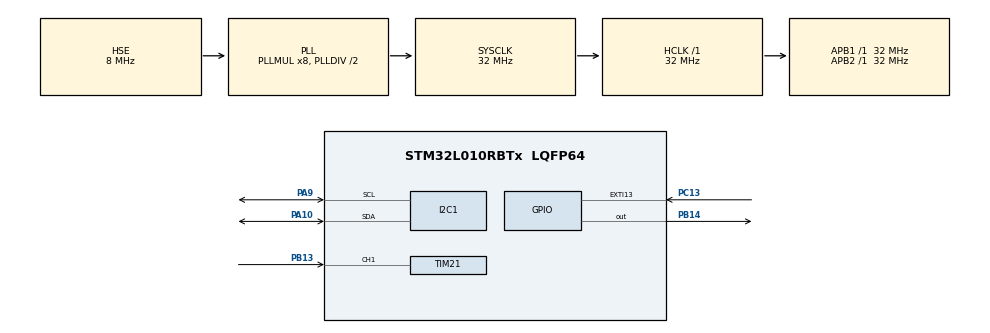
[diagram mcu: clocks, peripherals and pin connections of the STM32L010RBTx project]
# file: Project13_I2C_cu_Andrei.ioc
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I2C1.OwnAddress=0
I2C1.Timing=0x00707CBB
Mcu.Family=STM32L0
Mcu.Name=STM32L010RBTx
Mcu.Package=LQFP64
NVIC.EXTI4_15_IRQn=true\:0\:0\:false\:false\:true\:true\:true
NVIC.I2C1_IRQn=true\:0\:0\:false\:false\:true\:true\:true
NVIC.TIM21_IRQn=true\:0\:0\:false\:false\:true\:true\:true
PA10.Mode=I2C
PA10.Signal=I2C1_SDA
PA9.Mode=I2C
PA9.Signal=I2C1_SCL
PB13.Signal=S_TIM21_CH1
PB14.Signal=GPIO_Output
PC13.Signal=GPXTI13
ProjectManager.HeapSize=0x200
ProjectManager.StackSize=0x400
ProjectManager.TargetToolchain=EWARM V8.32
RCC.AHBFreq_Value=32000000
RCC.APB1Freq_Value=32000000
RCC.APB1TimFreq_Value=32000000
RCC.APB2Freq_Value=32000000
RCC.APB2TimFreq_Value=32000000
RCC.HCLKFreq_Value=32000000
RCC.HSE_VALUE=8000000
RCC.HSI16_VALUE=16000000
RCC.HSI48_VALUE=48000000
RCC.HSI_VALUE=16000000
RCC.LSE_VALUE=32768
RCC.MSI_VALUE=2097000
RCC.PLLMUL=RCC_PLLMUL_8
RCC.PLLSourceVirtual=RCC_PLLSOURCE_HSE
RCC.SYSCLKFreq_VALUE=32000000
RCC.SYSCLKSource=RCC_SYSCLKSOURCE_PLLCLK
RCC.VCOOutputFreq_Value=64000000
SH.S_TIM21_CH1.0=TIM21_CH1,Input_Capture1_from_TI1
TIM21.Channel-Input_Capture1_from_TI1=TIM_CHANNEL_1
TIM21.Period=0xffff-1
TIM21.Prescaler=32-1
board=NUCLEO-L010RB

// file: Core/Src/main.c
/* USER CODE BEGIN Header */
/**
  ******************************************************************************
  * @file           : main.c
  * @brief          : Main program body
  ******************************************************************************
  * @attention
  *
  * <h2><center>&copy; Copyright (c) 2021 STMicroelectronics.
  * All rights reserved.</center></h2>
  *
  * This software component is licensed by ST under BSD 3-Clause license,
  * the "License"; You may not use this file except in compliance with the
  * License. You may obtain a copy of the License at:
  *                        opensource.org/licenses/BSD-3-Clause
  *
  ******************************************************************************
  */
/* USER CODE END Header */
#include "main.h"

/* USER CODE BEGIN Includes */
#include "string.h"
#include "stdio.h"
/* USER CODE END Includes */

I2C_HandleTypeDef hi2c1;

TIM_HandleTypeDef htim21;

/* USER CODE BEGIN PV */
uint8_t rxI2C;
uint8_t txI2C[8];
uint8_t contor=0;
uint8_t txcI2C[8];

/* USER CODE END PV */

void SystemClock_Config(void);
static void MX_GPIO_Init(void);
static void MX_I2C1_Init(void);
static void MX_TIM21_Init(void);

/* USER CODE BEGIN 0 */
void delay(uint16_t time){

  __HAL_TIM_SET_COUNTER(&htim21, 0);
  while(__HAL_TIM_GET_COUNTER (&htim21) < time );

}
uint32_t IC_Val1 = 0;
uint32_t IC_Val2 = 0;
uint32_t Difference = 0;
uint8_t Is_First_Captured = 0;  // is the first value captured ?
uint8_t Distance=1;

#define TRIG_PIN GPIO_PIN_14
#define TRIG_PORT GPIOB

// Let's write the callback function

void HAL_TIM_IC_CaptureCallback(TIM_HandleTypeDef *htim)
{
	if (htim->Channel == HAL_TIM_ACTIVE_CHANNEL_1)  // if the interrupt source is channel1
	{
		if (Is_First_Captured==0) // if the first value is not captured
		{
			IC_Val1 = HAL_TIM_ReadCapturedValue(htim, TIM_CHANNEL_1); // read the first value
			Is_First_Captured = 1;  // set the first captured as true
			// Now change the polarity to falling edge
			__HAL_TIM_SET_CAPTUREPOLARITY(htim, TIM_CHANNEL_1, TIM_INPUTCHANNELPOLARITY_FALLING);
		}

		else if (Is_First_Captured==1)   // if the first is already captured
		{
			IC_Val2 = HAL_TIM_ReadCapturedValue(htim, TIM_CHANNEL_1);  // read second value
			__HAL_TIM_SET_COUNTER(htim, 0);  // reset the counter

			if (IC_Val2 > IC_Val1)
			{
				Difference = IC_Val2-IC_Val1;
			}

			else if (IC_Val1 > IC_Val2)
			{
				Difference = (0xffff - IC_Val1) + IC_Val2;
			}

			Distance = Difference * .034/2;
			Is_First_Captured = 0; // set it back to false

			// set polarity to rising edge
			__HAL_TIM_SET_CAPTUREPOLARITY(htim, TIM_CHANNEL_1, TIM_INPUTCHANNELPOLARITY_RISING);
			__HAL_TIM_DISABLE_IT(&htim21, TIM_IT_CC1);
		}
	}
}

void HCSR04_Read (void)
{
	HAL_GPIO_WritePin(TRIG_PORT, TRIG_PIN, GPIO_PIN_SET);  // pull the TRIG pin HIGH
	delay(10);  // wait for 10 us
	HAL_GPIO_WritePin(TRIG_PORT, TRIG_PIN, GPIO_PIN_RESET);  // pull the TRIG pin low

	__HAL_TIM_ENABLE_IT(&htim21, TIM_IT_CC1);
}
/* USER CODE END 0 */

int main(void)
{

  /* MCU Configuration--------------------------------------------------------*/

  /* Reset of all peripherals, Initializes the Flash interface and the Systick. */
  HAL_Init();

  /* Configure the system clock */
  SystemClock_Config();

  /* Initialize all configured peripherals */
  MX_GPIO_Init();
  MX_I2C1_Init();
  MX_TIM21_Init();
  /* USER CODE BEGIN 2 */
HAL_TIM_IC_Start(&htim21, TIM_CHANNEL_1);
  /* USER CODE END 2 */

  /* Infinite loop */
  /* USER CODE BEGIN WHILE */
  while (1)
  {
    HCSR04_Read();
    HAL_Delay(250);

    HAL_I2C_Master_Transmit(&hi2c1 , 0, &Distance, 1, HAL_MAX_DELAY);
    HAL_Delay(250);
    HAL_I2C_Slave_Receive(&hi2c1, &rxI2C, 1, HAL_MAX_DELAY);

    if(Distance < 5 && rxI2C==1){
     sprintf(txcI2C, "EsteOK1");

    }else if(Distance >= 5 && Distance <10 && rxI2C==2){
     sprintf(txcI2C, "EsteOK2");

    }else if(Distance >=10 && rxI2C==3){
      sprintf(txcI2C, "EsteOK3");

    }else {
      sprintf(txcI2C, "Nu E OK3");
    }
    HAL_Delay(250);
    HAL_I2C_Master_Transmit(&hi2c1 , 0, txcI2C, 8, 100);
HAL_Delay(250);

    /* USER CODE END WHILE */

  }

}
void SystemClock_Config(void)
{
  RCC_OscInitTypeDef RCC_OscInitStruct = {0};
  RCC_ClkInitTypeDef RCC_ClkInitStruct = {0};
  RCC_PeriphCLKInitTypeDef PeriphClkInit = {0};

  /** Configure the main internal regulator output voltage
  */
  __HAL_PWR_VOLTAGESCALING_CONFIG(PWR_REGULATOR_VOLTAGE_SCALE1);
  /** Initializes the RCC Oscillators according to the specified parameters
  * in the RCC_OscInitTypeDef structure.
  */
  RCC_OscInitStruct.OscillatorType = RCC_OSCILLATORTYPE_HSE|RCC_OSCILLATORTYPE_LSE;
  RCC_OscInitStruct.HSEState = RCC_HSE_ON;
  RCC_OscInitStruct.LSEState = RCC_LSE_ON;
  RCC_OscInitStruct.PLL.PLLState = RCC_PLL_ON;
  RCC_OscInitStruct.PLL.PLLSource = RCC_PLLSOURCE_HSE;
  RCC_OscInitStruct.PLL.PLLMUL = RCC_PLLMUL_8;
  RCC_OscInitStruct.PLL.PLLDIV = RCC_PLLDIV_2;
  if (HAL_RCC_OscConfig(&RCC_OscInitStruct) != HAL_OK)
  {
    Error_Handler();
  }
  /** Initializes the CPU, AHB and APB buses clocks
  */
  RCC_ClkInitStruct.ClockType = RCC_CLOCKTYPE_HCLK|RCC_CLOCKTYPE_SYSCLK
                              |RCC_CLOCKTYPE_PCLK1|RCC_CLOCKTYPE_PCLK2;
  RCC_ClkInitStruct.SYSCLKSource = RCC_SYSCLKSOURCE_PLLCLK;
  RCC_ClkInitStruct.AHBCLKDivider = RCC_SYSCLK_DIV1;
  RCC_ClkInitStruct.APB1CLKDivider = RCC_HCLK_DIV1;
  RCC_ClkInitStruct.APB2CLKDivider = RCC_HCLK_DIV1;

  if (HAL_RCC_ClockConfig(&RCC_ClkInitStruct, FLASH_LATENCY_1) != HAL_OK)
  {
    Error_Handler();
  }
  PeriphClkInit.PeriphClockSelection = RCC_PERIPHCLK_I2C1;
  PeriphClkInit.I2c1ClockSelection = RCC_I2C1CLKSOURCE_PCLK1;
  if (HAL_RCCEx_PeriphCLKConfig(&PeriphClkInit) != HAL_OK)
  {
    Error_Handler();
  }
  HAL_RCC_MCOConfig(RCC_MCO1, RCC_MCO1SOURCE_SYSCLK, RCC_MCODIV_1);
}

static void MX_I2C1_Init(void)
{

  hi2c1.Instance = I2C1;
  hi2c1.Init.Timing = 0x00707CBB;
  hi2c1.Init.OwnAddress1 = 0;
  hi2c1.Init.AddressingMode = I2C_ADDRESSINGMODE_7BIT;
  hi2c1.Init.DualAddressMode = I2C_DUALADDRESS_DISABLE;
  hi2c1.Init.OwnAddress2 = 0;
  hi2c1.Init.OwnAddress2Masks = I2C_OA2_NOMASK;
  hi2c1.Init.GeneralCallMode = I2C_GENERALCALL_DISABLE;
  hi2c1.Init.NoStretchMode = I2C_NOSTRETCH_DISABLE;
  if (HAL_I2C_Init(&hi2c1) != HAL_OK)
  {
    Error_Handler();
  }
  /** Configure Analogue filter
  */
  if (HAL_I2CEx_ConfigAnalogFilter(&hi2c1, I2C_ANALOGFILTER_ENABLE) != HAL_OK)
  {
    Error_Handler();
  }
  /** Configure Digital filter
  */
  if (HAL_I2CEx_ConfigDigitalFilter(&hi2c1, 0) != HAL_OK)
  {
    Error_Handler();
  }

}

static void MX_TIM21_Init(void)
{

  TIM_MasterConfigTypeDef sMasterConfig = {0};
  TIM_IC_InitTypeDef sConfigIC = {0};

  htim21.Instance = TIM21;
  htim21.Init.Prescaler = 32-1;
  htim21.Init.CounterMode = TIM_COUNTERMODE_UP;
  htim21.Init.Period = 0xffff-1;
  htim21.Init.ClockDivision = TIM_CLOCKDIVISION_DIV1;
  htim21.Init.AutoReloadPreload = TIM_AUTORELOAD_PRELOAD_DISABLE;
  if (HAL_TIM_IC_Init(&htim21) != HAL_OK)
  {
    Error_Handler();
  }
  sMasterConfig.MasterOutputTrigger = TIM_TRGO_RESET;
  sMasterConfig.MasterSlaveMode = TIM_MASTERSLAVEMODE_DISABLE;
  if (HAL_TIMEx_MasterConfigSynchronization(&htim21, &sMasterConfig) != HAL_OK)
  {
    Error_Handler();
  }
  sConfigIC.ICPolarity = TIM_INPUTCHANNELPOLARITY_RISING;
  sConfigIC.ICSelection = TIM_ICSELECTION_DIRECTTI;
  sConfigIC.ICPrescaler = TIM_ICPSC_DIV1;
  sConfigIC.ICFilter = 0;
  if (HAL_TIM_IC_ConfigChannel(&htim21, &sConfigIC, TIM_CHANNEL_1) != HAL_OK)
  {
    Error_Handler();
  }

}

static void MX_GPIO_Init(void)
{
  GPIO_InitTypeDef GPIO_InitStruct = {0};

  /* GPIO Ports Clock Enable */
  __HAL_RCC_GPIOC_CLK_ENABLE();
  __HAL_RCC_GPIOB_CLK_ENABLE();
  __HAL_RCC_GPIOA_CLK_ENABLE();

  /*Configure GPIO pin Output Level */
  HAL_GPIO_WritePin(GPIOB, GPIO_PIN_14, GPIO_PIN_RESET);

  /*Configure GPIO pin : PC13 */
  GPIO_InitStruct.Pin = GPIO_PIN_13;
  GPIO_InitStruct.Mode = GPIO_MODE_IT_RISING;
  GPIO_InitStruct.Pull = GPIO_NOPULL;
  HAL_GPIO_Init(GPIOC, &GPIO_InitStruct);

  /*Configure GPIO pin : PB14 */
  GPIO_InitStruct.Pin = GPIO_PIN_14;
  GPIO_InitStruct.Mode = GPIO_MODE_OUTPUT_PP;
  GPIO_InitStruct.Pull = GPIO_NOPULL;
  GPIO_InitStruct.Speed = GPIO_SPEED_FREQ_LOW;
  HAL_GPIO_Init(GPIOB, &GPIO_InitStruct);

  /* EXTI interrupt init*/
  HAL_NVIC_SetPriority(EXTI4_15_IRQn, 0, 0);
  HAL_NVIC_EnableIRQ(EXTI4_15_IRQn);

}

void Error_Handler(void)
{
  __disable_irq();
  while (1)
  {
  }
}

/************************ (C) COPYRIGHT STMicroelectronics *****END OF FILE****/
